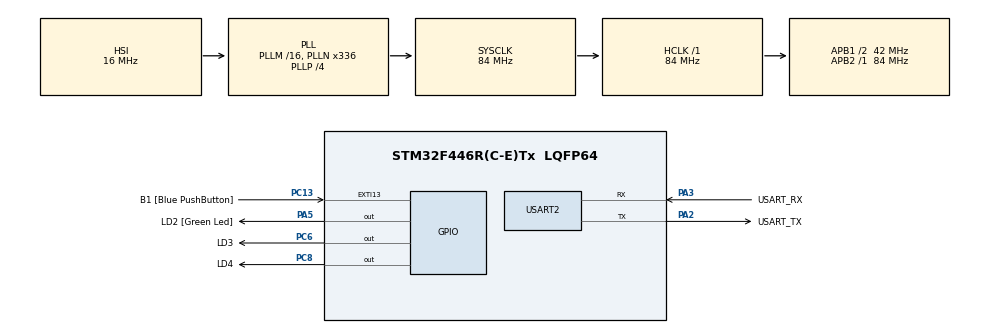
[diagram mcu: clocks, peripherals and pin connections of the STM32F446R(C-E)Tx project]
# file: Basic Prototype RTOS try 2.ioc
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FREERTOS.Mutexes01=stateMutex,Dynamic,NULL,Available;telemetryMutex,Dynamic,NULL,Available
FREERTOS.Tasks01=idleTask,24,128,IdleTask,Default,NULL,Dynamic,NULL,NULL;telemetryTask,48,128,TelemetryTask,Default,NULL,Dynamic,NULL,NULL;sdCardSimTask,8,128,SDCardSimTask,Default,NULL,Dynamic,NULL,NULL
Mcu.Family=STM32F4
Mcu.Name=STM32F446R(C-E)Tx
Mcu.Package=LQFP64
NVIC.PriorityGroup=NVIC_PRIORITYGROUP_4
PA13.GPIO_Label=TMS
PA13.Mode=Serial_Wire
PA13.Signal=SYS_JTMS-SWDIO
PA14.GPIO_Label=TCK
PA14.Mode=Serial_Wire
PA14.Signal=SYS_JTCK-SWCLK
PA2.GPIO_Label=USART_TX
PA2.Mode=Asynchronous
PA2.Signal=USART2_TX
PA3.GPIO_Label=USART_RX
PA3.Mode=Asynchronous
PA3.Signal=USART2_RX
PA5.GPIO_Label=LD2 [Green Led]
PA5.Signal=GPIO_Output
PB3.GPIO_Label=SWO
PB3.Signal=SYS_JTDO-SWO
PC13.GPIO_Label=B1 [Blue PushButton]
PC13.GPIO_ModeDefaultEXTI=GPIO_MODE_IT_FALLING
PC13.Signal=GPXTI13
PC14-OSC32_IN.Mode=LSE-External-Oscillator
PC14-OSC32_IN.Signal=RCC_OSC32_IN
PC15-OSC32_OUT.Mode=LSE-External-Oscillator
PC15-OSC32_OUT.Signal=RCC_OSC32_OUT
PC6.GPIO_Label=LD3
PC6.Signal=GPIO_Output
PC8.GPIO_Label=LD4
PC8.Signal=GPIO_Output
PH0-OSC_IN.Mode=HSE-External-Oscillator
PH0-OSC_IN.Signal=RCC_OSC_IN
PH1-OSC_OUT.Mode=HSE-External-Oscillator
PH1-OSC_OUT.Signal=RCC_OSC_OUT
ProjectManager.HeapSize=0x200
ProjectManager.StackSize=0x400
ProjectManager.TargetToolchain=STM32CubeIDE
RCC.48MHZClocksFreq_Value=84000000
RCC.AHBFreq_Value=84000000
RCC.APB1CLKDivider=RCC_HCLK_DIV2
RCC.APB1Freq_Value=42000000
RCC.APB1TimFreq_Value=84000000
RCC.APB2Freq_Value=84000000
RCC.APB2TimFreq_Value=84000000
RCC.CortexFreq_Value=84000000
RCC.FLatency-AdvancedSettings=FLASH_LATENCY_2
RCC.HCLKFreq_Value=84000000
RCC.HSE_VALUE=8000000
RCC.HSI_VALUE=16000000
RCC.PLLN=336
RCC.PLLP=RCC_PLLP_DIV4
RCC.SYSCLKFreq_VALUE=84000000
RCC.SYSCLKSource=RCC_SYSCLKSOURCE_PLLCLK
RCC.USBFreq_Value=168000000
RCC.VCOOutputFreq_Value=336000000
USART2.VirtualMode=VM_ASYNC
VP_FREERTOS_VS_CMSIS_V2.Mode=CMSIS_V2
board=NUCLEO-F446RE

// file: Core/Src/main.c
/* USER CODE BEGIN Header */
/* USER CODE END Header */
#include "main.h"
#include "cmsis_os.h"

/* USER CODE BEGIN Includes */
#include "string.h"
#include "stdio.h"
/* USER CODE END Includes */

/* USER CODE BEGIN PD */
#define TEAM_ID "ASI-050"
#define ERROR_NONE 0x0000
/* USER CODE END PD */

UART_HandleTypeDef huart2;
int Recovered = 0;

/* Definitions for idleTask */
osThreadId_t idleTaskHandle;
const osThreadAttr_t idleTask_attributes = {
  .name = "idleTask",
  .stack_size = 128 * 4,
  .priority = (osPriority_t) osPriorityNormal,
};
/* Definitions for telemetryTask */
osThreadId_t telemetryTaskHandle;
const osThreadAttr_t telemetryTask_attributes = {
  .name = "telemetryTask",
  .stack_size = 128 * 4,
  .priority = (osPriority_t) osPriorityRealtime,
};
/* Definitions for sdCardSimTask */
osThreadId_t sdCardSimTaskHandle;
const osThreadAttr_t sdCardSimTask_attributes = {
  .name = "sdCardSimTask",
  .stack_size = 128 * 4,
  .priority = (osPriority_t) osPriorityLow,
};
/* Definitions for stateMutex */
osMutexId_t stateMutexHandle;
const osMutexAttr_t stateMutex_attributes = {
  .name = "stateMutex"
};
/* Definitions for telemetryMutex */
osMutexId_t telemetryMutexHandle;
const osMutexAttr_t telemetryMutex_attributes = {
  .name = "telemetryMutex"
};
/* USER CODE BEGIN PV */
osThreadId_t idleTaskHandle, armedTaskHandle, launchTaskHandle, ascentTaskHandle;
osThreadId_t descentTaskHandle, recoveryTaskHandle;
osThreadId_t telemetryTaskHandle, sdCardSimTaskHandle;

/* USER CODE END PV */

void SystemClock_Config(void);
static void MX_GPIO_Init(void);
static void MX_USART2_UART_Init(void);
void IdleTask(void *argument);
void TelemetryTask(void *argument);
void SDCardSimTask(void *argument);

/* USER CODE BEGIN PFP */
void IdleTask(void *argument);
void ArmedTask(void *argument);
void LaunchTask(void *argument);
void AscentTask(void *argument);
void DescentTask(void *argument);
void RecoveryTask(void *argument);
void TelemetryTask(void *argument);
void SDCardSimTask(void *argument);
void SendTelemetry(void);
/* USER CODE END PFP */

/* USER CODE BEGIN 0 */
int __io_putchar(int ch) {
    HAL_UART_Transmit(&huart2, (uint8_t *)&ch, 1, HAL_MAX_DELAY);
    return ch;
}

uint16_t packetCount = 0;
uint16_t errorFlags = ERROR_NONE;
char telemetryString[256];
osMutexId_t dataMutex;

void SDCardSimTask(void *argument) {
    while (1) {
        osMutexAcquire(dataMutex, osWaitForever);
        printf("[SD CARD] Data saved: %s\n", telemetryString);
        osMutexRelease(dataMutex);
        osDelay(5000);
    }
}

void SendTelemetry(void) {
    printf("[UART] Telemetry Sent: %s\n", telemetryString);
}
/* USER CODE END 0 */

int main(void)
{

  /* MCU Configuration--------------------------------------------------------*/

  /* Reset of all peripherals, Initializes the Flash interface and the Systick. */
  HAL_Init();

  /* Configure the system clock */
  SystemClock_Config();

  /* Initialize all configured peripherals */
  MX_GPIO_Init();
  MX_USART2_UART_Init();
  /* USER CODE BEGIN 2 */
  dataMutex = osMutexNew(NULL);

  /* USER CODE END 2 */

  /* Init scheduler */
  osKernelInitialize();
  /* Create the mutex(es) */
  /* creation of stateMutex */
  stateMutexHandle = osMutexNew(&stateMutex_attributes);

  /* creation of telemetryMutex */
  telemetryMutexHandle = osMutexNew(&telemetryMutex_attributes);

  /* Create the thread(s) */
  /* creation of idleTask */
  idleTaskHandle = osThreadNew(IdleTask, NULL, &idleTask_attributes);

  /* creation of telemetryTask */
  telemetryTaskHandle = osThreadNew(TelemetryTask, NULL, &telemetryTask_attributes);

  /* creation of sdCardSimTask */
  sdCardSimTaskHandle = osThreadNew(SDCardSimTask, NULL, &sdCardSimTask_attributes);

  /* Start scheduler */
  osKernelStart();

  /* We should never get here as control is now taken by the scheduler */

  /* Infinite loop */

}

void SystemClock_Config(void)
{
  RCC_OscInitTypeDef RCC_OscInitStruct = {0};
  RCC_ClkInitTypeDef RCC_ClkInitStruct = {0};

  /** Configure the main internal regulator output voltage
  */
  __HAL_RCC_PWR_CLK_ENABLE();
  __HAL_PWR_VOLTAGESCALING_CONFIG(PWR_REGULATOR_VOLTAGE_SCALE3);

  /** Initializes the RCC Oscillators according to the specified parameters
  * in the RCC_OscInitTypeDef structure.
  */
  RCC_OscInitStruct.OscillatorType = RCC_OSCILLATORTYPE_HSI;
  RCC_OscInitStruct.HSIState = RCC_HSI_ON;
  RCC_OscInitStruct.HSICalibrationValue = RCC_HSICALIBRATION_DEFAULT;
  RCC_OscInitStruct.PLL.PLLState = RCC_PLL_ON;
  RCC_OscInitStruct.PLL.PLLSource = RCC_PLLSOURCE_HSI;
  RCC_OscInitStruct.PLL.PLLM = 16;
  RCC_OscInitStruct.PLL.PLLN = 336;
  RCC_OscInitStruct.PLL.PLLP = RCC_PLLP_DIV4;
  RCC_OscInitStruct.PLL.PLLQ = 2;
  RCC_OscInitStruct.PLL.PLLR = 2;
  if (HAL_RCC_OscConfig(&RCC_OscInitStruct) != HAL_OK)
  {
    Error_Handler();
  }

  /** Initializes the CPU, AHB and APB buses clocks
  */
  RCC_ClkInitStruct.ClockType = RCC_CLOCKTYPE_HCLK|RCC_CLOCKTYPE_SYSCLK
                              |RCC_CLOCKTYPE_PCLK1|RCC_CLOCKTYPE_PCLK2;
  RCC_ClkInitStruct.SYSCLKSource = RCC_SYSCLKSOURCE_PLLCLK;
  RCC_ClkInitStruct.AHBCLKDivider = RCC_SYSCLK_DIV1;
  RCC_ClkInitStruct.APB1CLKDivider = RCC_HCLK_DIV2;
  RCC_ClkInitStruct.APB2CLKDivider = RCC_HCLK_DIV1;

  if (HAL_RCC_ClockConfig(&RCC_ClkInitStruct, FLASH_LATENCY_2) != HAL_OK)
  {
    Error_Handler();
  }
}

static void MX_USART2_UART_Init(void)
{

  huart2.Instance = USART2;
  huart2.Init.BaudRate = 115200;
  huart2.Init.WordLength = UART_WORDLENGTH_8B;
  huart2.Init.StopBits = UART_STOPBITS_1;
  huart2.Init.Parity = UART_PARITY_NONE;
  huart2.Init.Mode = UART_MODE_TX_RX;
  huart2.Init.HwFlowCtl = UART_HWCONTROL_NONE;
  huart2.Init.OverSampling = UART_OVERSAMPLING_16;
  if (HAL_UART_Init(&huart2) != HAL_OK)
  {
    Error_Handler();
  }

}

static void MX_GPIO_Init(void)
{
  GPIO_InitTypeDef GPIO_InitStruct = {0};

  /* GPIO Ports Clock Enable */
  __HAL_RCC_GPIOC_CLK_ENABLE();
  __HAL_RCC_GPIOH_CLK_ENABLE();
  __HAL_RCC_GPIOA_CLK_ENABLE();
  __HAL_RCC_GPIOB_CLK_ENABLE();

  /*Configure GPIO pin Output Level */
  HAL_GPIO_WritePin(LD2_GPIO_Port, LD2_Pin, GPIO_PIN_RESET);

  /*Configure GPIO pin Output Level */
  HAL_GPIO_WritePin(GPIOC, LD3_Pin|LD4_Pin, GPIO_PIN_RESET);

  /*Configure GPIO pin : B1_Pin */
  GPIO_InitStruct.Pin = B1_Pin;
  GPIO_InitStruct.Mode = GPIO_MODE_IT_FALLING;
  GPIO_InitStruct.Pull = GPIO_NOPULL;
  HAL_GPIO_Init(B1_GPIO_Port, &GPIO_InitStruct);

  /*Configure GPIO pin : LD2_Pin */
  GPIO_InitStruct.Pin = LD2_Pin;
  GPIO_InitStruct.Mode = GPIO_MODE_OUTPUT_PP;
  GPIO_InitStruct.Pull = GPIO_NOPULL;
  GPIO_InitStruct.Speed = GPIO_SPEED_FREQ_LOW;
  HAL_GPIO_Init(LD2_GPIO_Port, &GPIO_InitStruct);

  /*Configure GPIO pins : LD3_Pin LD4_Pin */
  GPIO_InitStruct.Pin = LD3_Pin|LD4_Pin;
  GPIO_InitStruct.Mode = GPIO_MODE_OUTPUT_PP;
  GPIO_InitStruct.Pull = GPIO_NOPULL;
  GPIO_InitStruct.Speed = GPIO_SPEED_FREQ_LOW;
  HAL_GPIO_Init(GPIOC, &GPIO_InitStruct);

}

void IdleTask(void *argument)
{
  /* USER CODE BEGIN 5 */
    printf("System in IDLE state. Initializing systems...\n\r");

    HAL_Delay(1000);
    printf("Initialization complete. Waiting for button press to switch to ARMED state.\n\r");

    while (1) {
        if (HAL_GPIO_ReadPin(B1_GPIO_Port, B1_Pin) == GPIO_PIN_SET) {
            HAL_Delay(5000);
            if (HAL_GPIO_ReadPin(B1_GPIO_Port, B1_Pin) == GPIO_PIN_SET) {
                osThreadNew(ArmedTask, NULL, NULL);
                osThreadExit();
            }
        }
        osDelay(100);
    }

  /* USER CODE END 5 */
}

void TelemetryTask(void *argument)
{
  /* USER CODE BEGIN TelemetryTask */
    while (!Recovered) {
        osMutexAcquire(dataMutex, osWaitForever);
        sprintf(telemetryString, "#%s,TimeStamp,%d,Alt,Pres,Temp,V,GNSS,Acc,Gyro,State,ErrFlags\r\n", \
                TEAM_ID, packetCount++);
        osMutexRelease(dataMutex);

        SendTelemetry();
        osDelay(100);
    }

  /* USER CODE END TelemetryTask */
}

void ArmedTask(void *argument) {
    printf("System in ARMED state. Performing diagnostics...\n\r");

    HAL_Delay(2000);
    printf("Diagnostics complete. Waiting for button press to LAUNCH.\n\r");

    while (1) {
        if (HAL_GPIO_ReadPin(B1_GPIO_Port, B1_Pin) == GPIO_PIN_RESET) {
            osThreadNew(LaunchTask, NULL, NULL);
            osThreadExit();
        }
        osDelay(100);
    }
}
void LaunchTask(void *argument) {
    printf("System in LAUNCH state. Detecting liftoff...\n\r");

    HAL_Delay(1000);
    printf("Liftoff detected. Switching to ASCENT state.\n\r");
    while(1){
		if (HAL_GPIO_ReadPin(B1_GPIO_Port, B1_Pin) == GPIO_PIN_RESET) {

			osThreadNew(AscentTask, NULL, NULL);
			osThreadExit();
		}
        osDelay(100);
    }
}

void AscentTask(void *argument) {
    printf("System in ASCENT state. Monitoring flight data...\n\r");

    HAL_Delay(3000);
    printf("Motor burnout detected. Switching to DESCENT state.\n\r");

    while(1){
		if (HAL_GPIO_ReadPin(B1_GPIO_Port, B1_Pin) == GPIO_PIN_RESET) {

			osThreadNew(DescentTask, NULL, NULL);
			osThreadExit();
		}
        osDelay(100);
    }
}

void DescentTask(void *argument) {
    printf("System in DESCENT state. Deploying parachutes...\n\r");

    printf("Releasing drogue parachute.\n");
    HAL_Delay(1000);
    printf("Payload ejection.\n");
    HAL_Delay(1000);
    printf("Deploying main parachute.\n");
    HAL_Delay(1000);

    printf("Switching to RECOVERY state.\n");

    while(1){
		if (HAL_GPIO_ReadPin(B1_GPIO_Port, B1_Pin) == GPIO_PIN_RESET) {

			osThreadNew(RecoveryTask, NULL, NULL);
			osThreadExit();
		}
        osDelay(100);
    }
}

void RecoveryTask(void *argument) {
    printf("System in RECOVERY state. Blinking LED and transmitting GPS data.\n");

    while (1) {
        HAL_GPIO_TogglePin(LD2_GPIO_Port, LD2_Pin);
        HAL_Delay(500);
		if (HAL_GPIO_ReadPin(B1_GPIO_Port, B1_Pin) == GPIO_PIN_RESET) {
	        Recovered = 1;
			osThreadExit();
		}

    }
}

void Error_Handler(void)
{
}
